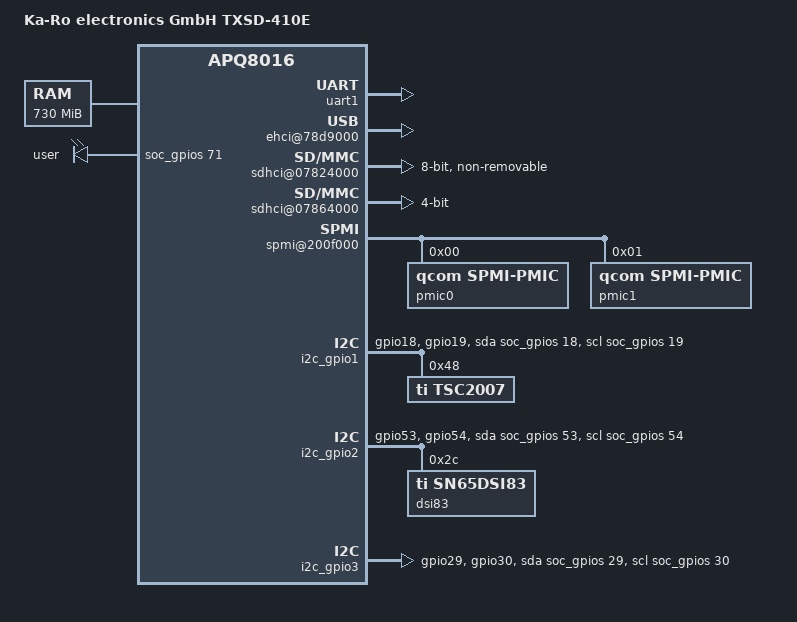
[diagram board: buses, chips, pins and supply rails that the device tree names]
/*
 * Qualcomm APQ8016 based Ka-Ro TXSD-410E board device tree source
 *
 * (C) Copyright 2016 Lothar Waßmann <LW@KARO-electronics.de>
 *
 * SPDX-License-Identifier:	GPL-2.0+
 */

/dts-v1/;

#include "skeleton64.dtsi"
#include <dt-bindings/gpio/gpio.h>
#include <dt-bindings/interrupt-controller/irq.h>

/ {
	model = "Ka-Ro electronics GmbH TXSD-410E";
	compatible = "qcom,dragonboard", "qcom,apq8016-sbc";
	qcom,msm-id = <0xce 0x0 0xf8 0x0 0xf9 0x0 0xfa 0x0 0xf7 0x0>;
	qcom,board-id = <0x10018 0x0>;
	#address-cells = <0x2>;
	#size-cells = <0x2>;

	aliases {
		serial0 = &uart1;
		soc_gpios = &soc_gpios;
		i2c0 = &i2c_gpio1;
		i2c1 = &i2c_gpio2;
		i2c2 = &i2c_gpio3;
	};

	memory {
		device_type = "memory";
		reg = <0 0x90000000 0 0x2da00000>;
	};

	chosen {
		stdout-path = "serial0";
	};

	psci {
		compatible = "arm,psci-1.0";
		method = "smc";
	};

	soc {
		#address-cells = <0x1>;
		#size-cells = <0x1>;
		ranges = <0x0 0x0 0x0 0xffffffff>;
		compatible = "simple-bus";

		clkc: qcom,gcc@1800000 {
			compatible = "qcom,gcc-apq8016";
			reg = <0x1800000 0x80000>;
			#address-cells = <0x1>;
			#size-cells = <0x0>;
		};

		uart1: serial@78b0000 {
			compatible = "qcom,msm-uartdm-v1.4";
			reg = <0x78b0000 0x200>;
			u-boot,dm-pre-reloc;
			clock = <&clkc 4>;
		};

		restart@4ab000 {
			compatible = "qcom,pshold";
			reg = <0x4ab000 0x4>;
		};

		soc_gpios: pinctrl@1000000 {
			compatible = "qcom,apq8016-pinctrl";
			reg = <0x1000000 0x300000>;
			gpio-controller;
			gpio-count = <122>;
			gpio-bank-name = "soc";
			#gpio-cells = <2>;
		};

		ehci@78d9000 {
			compatible = "qcom,ehci-host";
			reg = <0x78d9000 0x400>;
		};

		sdhci@07824000 {
			compatible = "qcom,sdhci-msm-v4";
			reg = <0x7824900 0x11c 0x7824000 0x800>;
			bus-width = <0x8>;
			index = <0x0>;
			non-removable;
			clock = <&clkc 0>;
			clock-frequency = <100000000>;
		};

		sdhci@07864000 {
			compatible = "qcom,sdhci-msm-v4";
			reg = <0x7864900 0x11c 0x7864000 0x800>;
			index = <0x1>;
			bus-width = <0x4>;
			clock = <&clkc 1>;
			clock-frequency = <200000000>;
		};

		spmi@200f000 {
			compatible = "qcom,spmi-pmic-arb";
			reg = <0x200f000 0x1000
			       0x2400000 0x400000
			       0x2c00000 0x400000
			       >;
			#address-cells = <0x1>;
			#size-cells = <0x1>;

			pmic0: pm8916@0 {
				compatible = "qcom,spmi-pmic";
				reg = <0x0 0x1>;
				#address-cells = <0x1>;
				#size-cells = <0x1>;

				rtc@6000 {
					compatible = "qcom,pm8941-rtc";
					reg = <0x6000 0x4c>, <0x6100 0x49>;
					reg-names = "rtc", "alarm";
					interrupts = <0x0 0x61 0x1 IRQ_TYPE_EDGE_RISING>;
				};

				pm8916_gpios: pm8916_gpios@c000 {
					compatible = "qcom,pm8916-gpio";
					reg = <0xc000 0x400>;
					gpio-controller;
					gpio-count = <4>;
					#gpio-cells = <2>;
					gpio-bank-name = "pmic";
				};
			};

			pmic1: pm8916@1 {
				compatible = "qcom,spmi-pmic";
				reg = <0x1 0x1>;
			};
		};
	};

	i2c_gpio1: i2c-gpio@0 {
		compatible = "i2c-gpio";
		#address-cells = <1>;
		#size-cells = <0>;
		pinctrl-names = "default";
		pinctrl-0 = <&i2c0_pinmux>;
		gpios = <&soc_gpios 18 GPIO_ACTIVE_HIGH>, /* SDA */
                      	<&soc_gpios 19 GPIO_ACTIVE_HIGH>; /* CLK */

		tsc2007@48 {
			compatible = "ti,tsc2007";
			reg = <0x48>;
		};
	};

	i2c_gpio2: i2c-gpio@1 {
		compatible = "i2c-gpio";
		#address-cells = <1>;
		#size-cells = <0>;
		pinctrl-names = "default";
		pinctrl-0 = <&i2c1_pinmux>;
		gpios = <&soc_gpios 53 GPIO_ACTIVE_HIGH>, /* SDA */
                      	<&soc_gpios 54 GPIO_ACTIVE_HIGH>; /* CLK */

		dsi83@2c {
			compatible = "ti,sn65dsi83";
			reg = <0x2c>;
		};
	};

	i2c_gpio3: i2c-gpio@2 {
		compatible = "i2c-gpio";
		#address-cells = <1>;
		#size-cells = <0>;
		pinctrl-names = "default";
		pinctrl-0 = <&i2c2_pinmux>;
		gpios = <&soc_gpios 29 GPIO_ACTIVE_HIGH>, /* SDA */
                      	<&soc_gpios 30 GPIO_ACTIVE_HIGH>; /* CLK */
	};

	leds {
		compatible = "gpio-leds";

		user {
			label = "user";
			gpios = <&soc_gpios 71 GPIO_ACTIVE_HIGH>;
		};
	};
};

&soc_gpios {
	i2c0_pinmux: i2c0-pins {
		pinmux {
			function = "gpio";
			pins = "gpio18", "gpio19";
		};

		pinconf {
			pins = "gpio18", "gpio19";
			drive-strength = <16>;
			bias-pull-up;
		};
	};

	i2c1_pinmux: i2c1-pins {
		pinmux {
			function = "gpio";
			pins = "gpio53", "gpio54";
		};

		pinconf {
			pins = "gpio53", "gpio54";
			drive-strength = <16>;
			bias-pull-up;
		};
	};

	i2c2_pinmux: i2c2-pins {
		pinmux {
			function = "gpio";
			pins = "gpio29", "gpio30";
		};

		pinconf {
			pins = "gpio29", "gpio30";
			drive-strength = <16>;
			bias-pull-up;
		};
	};

	led_pinmux: led-pins {
		pinmux {
			function = "gpio";
			pins = "gpio71";
	};

		pinconf {
			pins = "gpio71";
			drive-strength = <16>;
	};
};

	usb_vbus_pinmux: usb-vbus {
		pinmux {
			function = "gpio";
			pins = "gpio56";
	};

		pinconf {
			pins = "gpio56";
			drive-strength = <16>;
		};
	};
};
